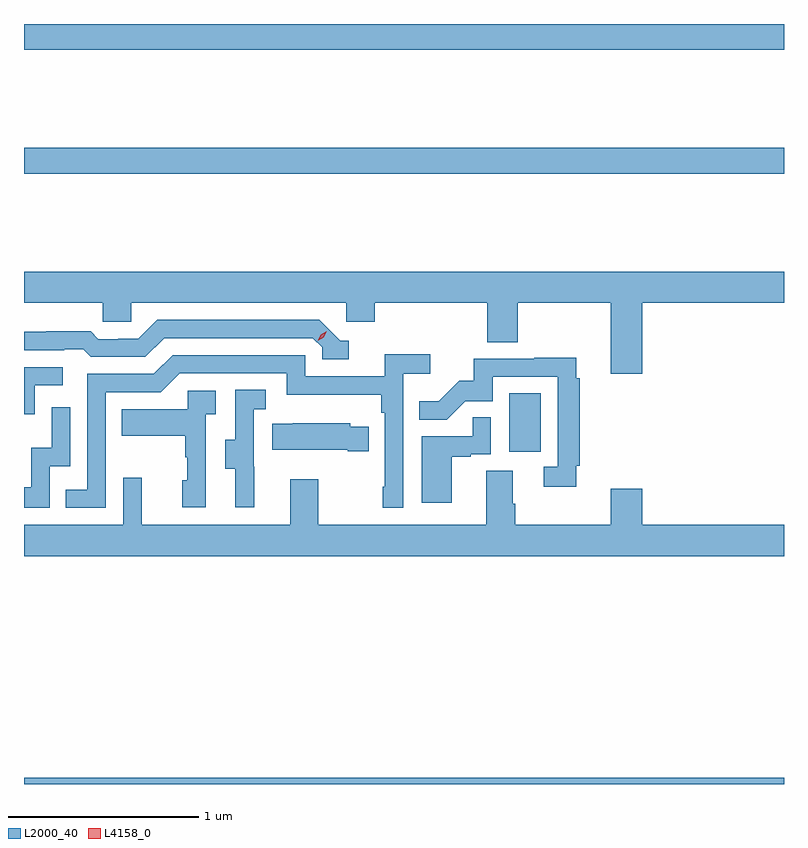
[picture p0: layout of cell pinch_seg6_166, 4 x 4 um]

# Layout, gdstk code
import gdstk
lib = gdstk.Library(unit=1e-6, precision=1e-09)
def R(c, l, rs):  # rectangles x0, y0, x1, y1
    for r in rs: c.add(gdstk.rectangle(r[:2], r[2:], *l))
def P(c, l, *ps):  # polygons
    for p in ps: c.add(gdstk.Polygon(p, *l))
L2000_40 = (2000, 40)
L4158_0 = (4158, 0)

pinch_seg6_166 = lib.new_cell('pinch_seg6_166')
R(pinch_seg6_166, L2000_40, [(1037.043,938.144,1041.043,938.176), (1039.598,939.894,1039.762,940.201), (1037.043,941.356,1041.043,941.492), (1037.043,942.008,1041.043,942.144)])
P(pinch_seg6_166, L2000_40, [(1040.296,940.676),(1041.043,940.676),(1041.043,940.84),(1037.043,940.84),(1037.043,940.676),(1037.457,940.676),(1037.457,940.578),(1037.607,940.578),(1037.607,940.676),(1038.738,940.676),(1038.738,940.578),(1038.89,940.578),(1038.89,940.676),(1039.481,940.676),(1039.481,940.468),(1039.641,940.468),(1039.641,940.676),(1040.132,940.676),(1040.132,940.302),(1040.296,940.302)],
  [(1038.751,940.476),(1038.708,940.476),(1038.597,940.587),(1037.744,940.587),(1037.645,940.488),(1037.538,940.488),(1037.538,940.485),(1037.435,940.485),(1037.393,940.528),(1037.16,940.528),(1037.16,940.525),(1037.043,940.525),(1037.043,940.428),(1037.255,940.428),(1037.255,940.431),(1037.354,940.431),(1037.393,940.392),(1037.682,940.392),(1037.781,940.491),(1038.564,940.491),(1038.612,940.443),(1038.612,940.38),(1038.751,940.38)],
  [(1037.472,940.206),(1037.763,940.206),(1037.862,940.305),(1038.426,940.305),(1038.426,940.193),(1038.922,940.193),(1038.922,940.097),(1038.942,940.097),(1038.942,939.709),(1038.93,939.709),(1038.93,939.597),(1039.038,939.597),(1039.038,940.304),(1039.18,940.304),(1039.18,940.406),(1038.941,940.406),(1038.941,940.29),(1038.522,940.29),(1038.522,940.401),(1037.825,940.401),(1037.726,940.302),(1037.376,940.302),(1037.376,939.693),(1037.263,939.693),(1037.263,939.597),(1037.472,939.597)],
  [(1039.949,939.82),(1039.967,939.82),(1039.967,940.28),(1039.949,940.28),(1039.949,940.388),(1039.729,940.388),(1039.729,940.383),(1039.411,940.383),(1039.411,940.266),(1039.334,940.266),(1039.227,940.159),(1039.123,940.159),(1039.123,940.06),(1039.267,940.06),(1039.365,940.158),(1039.509,940.158),(1039.509,940.287),(1039.851,940.287),(1039.851,939.813),(1039.779,939.813),(1039.779,939.708),(1039.949,939.708)],
  [(1037.1,940.242),(1037.248,940.242),(1037.248,940.338),(1037.043,940.338),(1037.043,940.089),(1037.1,940.089)],
  [(1038.254,939.813),(1038.252,939.813),(1038.252,940.117),(1038.316,940.117),(1038.316,940.22),(1038.156,940.22),(1038.156,939.957),(1038.101,939.957),(1038.101,939.802),(1038.155,939.802),(1038.155,939.6),(1038.254,939.6)],
  [(1038,940.091),(1038.052,940.091),(1038.052,940.215),(1037.904,940.215),(1037.904,940.117),(1037.557,940.117),(1037.557,939.977),(1037.892,939.977),(1037.892,939.863),(1037.902,939.863),(1037.902,939.744),(1037.876,939.744),(1037.876,939.6),(1038,939.6)],
  [(1037.178,939.816),(1037.286,939.816),(1037.286,940.126),(1037.19,940.126),(1037.19,939.914),(1037.081,939.914),(1037.081,939.706),(1037.043,939.706),(1037.043,939.597),(1037.178,939.597)],
  [(1039.294,939.867),(1039.394,939.867),(1039.394,939.879),(1039.5,939.879),(1039.5,940.073),(1039.405,940.073),(1039.405,939.975),(1039.136,939.975),(1039.136,939.624),(1039.294,939.624)],
  [(1038.857,940.024),(1038.759,940.024),(1038.759,940.042),(1038.457,940.042),(1038.457,940.039),(1038.349,940.039),(1038.349,939.902),(1038.746,939.902),(1038.746,939.895),(1038.857,939.895)],
  [(1041.043,939.508),(1040.296,939.508),(1040.296,939.697),(1040.132,939.697),(1040.132,939.508),(1039.628,939.508),(1039.628,939.62),(1039.615,939.62),(1039.615,939.794),(1039.475,939.794),(1039.475,939.508),(1038.591,939.508),(1038.591,939.748),(1038.443,939.748),(1038.443,939.508),(1037.663,939.508),(1037.663,939.757),(1037.565,939.757),(1037.565,939.508),(1037.043,939.508),(1037.043,939.344),(1041.043,939.344)])
P(pinch_seg6_166, L4158_0, [(1038.589,940.476),(1038.589,940.476),(1038.605,940.509),(1038.636,940.528),(1038.636,940.528),(1038.636,940.528),(1038.62,940.495),(1038.589,940.476)])

lib.write_gds('pinch_seg6_166.gds')
